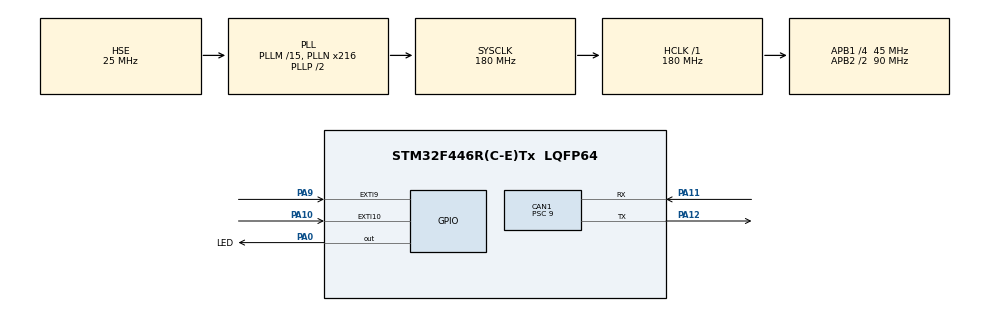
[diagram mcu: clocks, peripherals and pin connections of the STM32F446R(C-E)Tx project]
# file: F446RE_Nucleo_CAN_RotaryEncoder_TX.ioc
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CAN1.BS1=CAN_BS1_2TQ
CAN1.BS2=CAN_BS2_2TQ
CAN1.CalculateBaudRate=1000000
CAN1.CalculateTimeBit=1000
CAN1.CalculateTimeQuantum=200.0
CAN1.Prescaler=9
Mcu.Family=STM32F4
Mcu.Name=STM32F446R(C-E)Tx
Mcu.Package=LQFP64
NVIC.EXTI15_10_IRQn=true\:0\:0\:false\:false\:true\:true\:true\:true
NVIC.EXTI9_5_IRQn=true\:0\:0\:false\:false\:true\:true\:true\:true
NVIC.PriorityGroup=NVIC_PRIORITYGROUP_4
NVIC.TIM4_IRQn=true\:0\:0\:false\:false\:true\:true\:true\:true
PA0-WKUP.GPIO_Label=LED
PA0-WKUP.Signal=GPIO_Output
PA10.GPIO_ModeDefaultEXTI=GPIO_MODE_IT_RISING_FALLING
PA10.GPIO_PuPd=GPIO_PULLUP
PA10.Signal=GPXTI10
PA11.Mode=CAN_Activate
PA11.Signal=CAN1_RX
PA12.Mode=CAN_Activate
PA12.Signal=CAN1_TX
PA13.Mode=Serial_Wire
PA13.Signal=SYS_JTMS-SWDIO
PA14.Mode=Serial_Wire
PA14.Signal=SYS_JTCK-SWCLK
PA9.GPIO_ModeDefaultEXTI=GPIO_MODE_IT_RISING_FALLING
PA9.GPIO_PuPd=GPIO_PULLUP
PA9.Signal=GPXTI9
PH0-OSC_IN.Mode=HSE-External-Oscillator
PH0-OSC_IN.Signal=RCC_OSC_IN
PH1-OSC_OUT.Mode=HSE-External-Oscillator
PH1-OSC_OUT.Signal=RCC_OSC_OUT
ProjectManager.HeapSize=0x200
ProjectManager.StackSize=0x400
ProjectManager.TargetToolchain=STM32CubeIDE
RCC.AHBFreq_Value=180000000
RCC.APB1CLKDivider=RCC_HCLK_DIV4
RCC.APB1Freq_Value=45000000
RCC.APB1TimFreq_Value=90000000
RCC.APB2CLKDivider=RCC_HCLK_DIV2
RCC.APB2Freq_Value=90000000
RCC.APB2TimFreq_Value=180000000
RCC.CortexFreq_Value=180000000
RCC.HCLKFreq_Value=180000000
RCC.PLLM=15
RCC.PLLN=216
RCC.PLLSourceVirtual=RCC_PLLSOURCE_HSE
RCC.SYSCLKFreq_VALUE=180000000
RCC.SYSCLKSource=RCC_SYSCLKSOURCE_PLLCLK
RCC.USBFreq_Value=180000000
RCC.VCOOutputFreq_Value=360000000
TIM4.AutoReloadPreload=TIM_AUTORELOAD_PRELOAD_ENABLE
TIM4.Period=9999
TIM4.Prescaler=89
VP_TIM4_VS_ClockSourceINT.Mode=Internal
board=custom

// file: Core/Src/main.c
/* USER CODE BEGIN Header */
/**
  ******************************************************************************
  * @file           : main.c
  * @brief          : Main program body
  ******************************************************************************
  * @attention
  *
  * Copyright (c) 2024 STMicroelectronics.
  * All rights reserved.
  *
  * This software is licensed under terms that can be found in the LICENSE file
  * in the root directory of this software component.
  * If no LICENSE file comes with this software, it is provided AS-IS.
  *
  ******************************************************************************
  */
/* USER CODE END Header */
#include "main.h"
#include "can.h"
#include "tim.h"
#include "gpio.h"

/* USER CODE BEGIN PD */

	#define EPR 2400
	#define PI 3.14159

	#define chA_pin GPIO_PIN_9
	#define chB_pin GPIO_PIN_10
	#define chAB_gpio_port GPIOA

	#define wheel_radius_encoder 0.03 /* MATER */

	uint32_t sample_time = 0;
	int get_value = 0;

/* USER CODE END PD */

/* USER CODE BEGIN PV */

			/* CAN */

				CAN_RxHeaderTypeDef RxHeader;
				uint8_t RxData[8];
				CAN_TxHeaderTypeDef TxHeader;
				uint8_t TxData[8];
				uint32_t TxMailbox;
				uint16_t ReadValue;

				int datacheck = 0;
				float pwm_M1 = 0;
				float pwm_M2 = 0;

				float RxData1 = 0;
				float RxData2 = 0;
				float RxData3 = 0;
				float RxData4 = 0;

			/* TAGET SPEED OF RGB */

				float V1 = 0;
				float V2 = 0;
				float V3 = 0;
				float V4 = 0;

			/* V OUT RGB */

				uint16_t V1_out = 0;
				uint16_t V2_out = 0;
				uint16_t V3_out = 0;
				uint16_t V4_out = 0;

				uint8_t flag = 0;
				uint8_t cntt;
				uint8_t cnt;

/* USER CODE END PV */

void SystemClock_Config(void);
/* USER CODE BEGIN PFP */

/* MAP */

	float map(float Input, float Min_Input, float Max_Input, float Min_Output, float Max_Output) {
		return (float) ((Input - Min_Input) * (Max_Output - Min_Output) / (Max_Input - Min_Input) + Min_Output);
	}

/* STM32 INTERUPP RECEIVER FROM USB CAN */

	void HAL_CAN_RxFifo0MsgPendingCallback(CAN_HandleTypeDef *hcan) {
		HAL_CAN_GetRxMessage(hcan, CAN_RX_FIFO0, &RxHeader, RxData);
		cntt++;
		while (cntt - 100 > 0) {
			HAL_GPIO_TogglePin(GPIOA, GPIO_PIN_0);
			cntt = 0;
		}

}

/* USER CODE END PFP */

/* USER CODE BEGIN 0 */

	/* DEFINE STRUCTRES */

		typedef struct{
		  long counter;
		  GPIO_PinState lastA;
		  GPIO_PinState lastB;
		  double distand ;
		  double last_en_co;
		  double angle;
		}encoder;
		encoder enc1;

	/* READ COUNT ROTARY ENCODER */

		void read_encoder(encoder *Encoder, GPIO_PinState chA, GPIO_PinState ChB){
		  if(chA != Encoder->lastA){
			Encoder->lastA = chA;
			if(chA != ChB){
			  Encoder->counter++;
			}else {
			  Encoder->counter--;
			}

		  }
		  if(ChB != Encoder->lastB){
			Encoder->lastB = ChB;
			if(ChB == chA){
			  Encoder->counter++;
			}else {
			  Encoder->counter--;
			}
		  }
		}

/* USER CODE END 0 */

int main(void)
{

  /* MCU Configuration--------------------------------------------------------*/

  /* Reset of all peripherals, Initializes the Flash interface and the Systick. */
  HAL_Init();

  /* Configure the system clock */
  SystemClock_Config();

  /* Initialize all configured peripherals */
  MX_GPIO_Init();
  MX_CAN1_Init();
  MX_TIM4_Init();
  /* USER CODE BEGIN 2 */

	/* CAN */

		HAL_CAN_Start(&hcan1);

	/* STRUCTUR TRANSMITTER DATA */

		HAL_CAN_ActivateNotification(&hcan1, CAN_IT_RX_FIFO0_MSG_PENDING);
		TxHeader.DLC = 8;
		TxHeader.IDE = CAN_ID_STD;
		TxHeader.RTR = CAN_RTR_DATA;
		TxHeader.StdId = 0x446; //0b11001010001

	/* TIMER BASE*/

		HAL_TIM_Base_Start_IT(&htim4);

  /* USER CODE END 2 */

  /* Infinite loop */
  while (1)
  {

    /* USER CODE BEGIN 3 */

	  if ( HAL_GetTick() - sample_time >= 10){
		  sample_time = HAL_GetTick();
		  get_value = enc1.counter;

		  /* DISTANCE ENCODER */

		  	  enc1.distand = 2 * PI * wheel_radius_encoder * get_value / EPR;
	  }

  }
  /* USER CODE END 3 */
}

void SystemClock_Config(void)
{
  RCC_OscInitTypeDef RCC_OscInitStruct = {0};
  RCC_ClkInitTypeDef RCC_ClkInitStruct = {0};

  /** Configure the main internal regulator output voltage
  */
  __HAL_RCC_PWR_CLK_ENABLE();
  __HAL_PWR_VOLTAGESCALING_CONFIG(PWR_REGULATOR_VOLTAGE_SCALE1);

  /** Initializes the RCC Oscillators according to the specified parameters
  * in the RCC_OscInitTypeDef structure.
  */
  RCC_OscInitStruct.OscillatorType = RCC_OSCILLATORTYPE_HSE;
  RCC_OscInitStruct.HSEState = RCC_HSE_ON;
  RCC_OscInitStruct.PLL.PLLState = RCC_PLL_ON;
  RCC_OscInitStruct.PLL.PLLSource = RCC_PLLSOURCE_HSE;
  RCC_OscInitStruct.PLL.PLLM = 15;
  RCC_OscInitStruct.PLL.PLLN = 216;
  RCC_OscInitStruct.PLL.PLLP = RCC_PLLP_DIV2;
  RCC_OscInitStruct.PLL.PLLQ = 2;
  RCC_OscInitStruct.PLL.PLLR = 2;
  if (HAL_RCC_OscConfig(&RCC_OscInitStruct) != HAL_OK)
  {
    Error_Handler();
  }

  /** Activate the Over-Drive mode
  */
  if (HAL_PWREx_EnableOverDrive() != HAL_OK)
  {
    Error_Handler();
  }

  /** Initializes the CPU, AHB and APB buses clocks
  */
  RCC_ClkInitStruct.ClockType = RCC_CLOCKTYPE_HCLK|RCC_CLOCKTYPE_SYSCLK
                              |RCC_CLOCKTYPE_PCLK1|RCC_CLOCKTYPE_PCLK2;
  RCC_ClkInitStruct.SYSCLKSource = RCC_SYSCLKSOURCE_PLLCLK;
  RCC_ClkInitStruct.AHBCLKDivider = RCC_SYSCLK_DIV1;
  RCC_ClkInitStruct.APB1CLKDivider = RCC_HCLK_DIV4;
  RCC_ClkInitStruct.APB2CLKDivider = RCC_HCLK_DIV2;

  if (HAL_RCC_ClockConfig(&RCC_ClkInitStruct, FLASH_LATENCY_5) != HAL_OK)
  {
    Error_Handler();
  }
}

/* USER CODE BEGIN 4 */

void HAL_TIM_PeriodElapsedCallback(TIM_HandleTypeDef *htim) {
	if (htim->Instance == TIM4) {

		/* TxData SEND IMU EULER QUATERNION */

		TxData[0] = ((V1_out & 0xFF00) >> 8);
		TxData[1] = (V1_out & 0x00FF);
		TxData[2] = ((V2_out & 0xFF00) >> 8);
		TxData[3] = (V2_out & 0x00FF);
		TxData[4] = ((V3_out & 0xFF00) >> 8);
		TxData[5] = (V3_out & 0x00FF);
		TxData[6] = ((V4_out & 0xFF00) >> 8);
		TxData[7] = (V4_out & 0x00FF);

		if (!(HAL_GPIO_ReadPin(GPIOA, GPIO_PIN_1))) {
			  HAL_GPIO_TogglePin(GPIOA, GPIO_PIN_0);
			  HAL_CAN_AddTxMessage(&hcan1, &TxHeader,(uint8_t*)&enc1, &TxMailbox);

		}
	}

}

/* EXTERNAL INTERUPPT */

	void HAL_GPIO_EXTI_Callback(uint16_t GPIO_Pin){
		if(GPIO_Pin == chA_pin||chB_pin){
			read_encoder(&enc1, HAL_GPIO_ReadPin(chAB_gpio_port, chA_pin), HAL_GPIO_ReadPin(chAB_gpio_port, chB_pin));
		}
	}

/* USER CODE END 4 */

void Error_Handler(void)
{
  __disable_irq();
  while (1)
  {
  }
}
